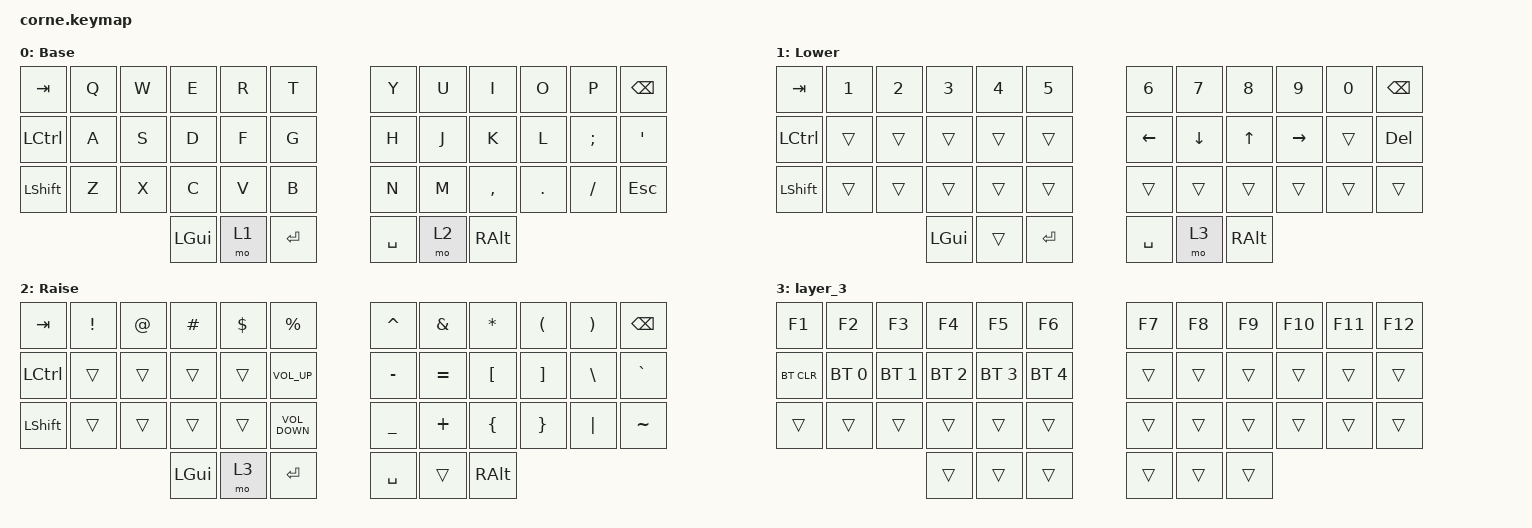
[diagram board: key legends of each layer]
/*
 * Copyright (c) 2020 The ZMK Contributors
 *
 * SPDX-License-Identifier: MIT
 */

#include <behaviors.dtsi>
#include <dt-bindings/zmk/bt.h>
#include <dt-bindings/zmk/keys.h>

/ {
    keymap {
        compatible = "zmk,keymap";

        default_layer {
            // -----------------------------------------------------------------------------------------
            // |  TAB |  Q  |  W  |  E  |  R  |  T  |   |  Y  |  U   |  I  |  O  |  P  | BKSP |
            // | CTRL |  A  |  S  |  D  |  F  |  G  |   |  H  |  J   |  K  |  L  |  ;  |  '   |
            // | SHFT |  Z  |  X  |  C  |  V  |  B  |   |  N  |  M   |  ,  |  .  |  /  | ESC  |
            //                    | GUI | LWR | SPC |   | ENT | RSE  | ALT |

            display-name = "Base";
            bindings = <
&kp TAB    &kp Q  &kp W  &kp E     &kp R  &kp T        &kp Y      &kp U  &kp I      &kp O    &kp P     &kp BSPC
&kp LCTRL  &kp A  &kp S  &kp D     &kp F  &kp G        &kp H      &kp J  &kp K      &kp L    &kp SEMI  &kp SQT
&kp LSHFT  &kp Z  &kp X  &kp C     &kp V  &kp B        &kp N      &kp M  &kp COMMA  &kp DOT  &kp FSLH  &kp ESC
                         &kp LGUI  &mo 1  &kp ENTER    &kp SPACE  &mo 2  &kp RALT
            >;
        };

        lower_layer {
            // -----------------------------------------------------------------------------------------
            // |  TAB |  1  |  2  |  3  |  4  |  5  |   |  6  |  7  |  8  |  9  |  0  | BKSP |
            // | BTCLR| BT1 | BT2 | BT3 | BT4 | BT5 |   | LFT | DWN |  UP | RGT |     |      |
            // | SHFT |     |     |     |     |     |   |     |     |     |     |     |      |
            //                    | GUI |     | SPC |   | ENT |     | ALT |

            display-name = "Lower";
            bindings = <
&kp TAB    &kp N1  &kp N2  &kp N3    &kp N4  &kp N5       &kp N6     &kp N7    &kp N8    &kp N9     &kp N0  &kp BSPC
&kp LCTRL  &trans  &trans  &trans    &trans  &trans       &kp LEFT   &kp DOWN  &kp UP    &kp RIGHT  &trans  &kp DELETE
&kp LSHFT  &trans  &trans  &trans    &trans  &trans       &trans     &trans    &trans    &trans     &trans  &trans
                           &kp LGUI  &trans  &kp ENTER    &kp SPACE  &mo 3     &kp RALT
            >;
        };

        raise_layer {
            // -----------------------------------------------------------------------------------------
            // |  TAB |  !  |  @  |  #  |  $  |  %  |   |  ^  |  &  |  *  |  (  |  )  | BKSP |
            // | CTRL |     |     |     |     |     |   |  -  |  =  |  [  |  ]  |  \  |  `   |
            // | SHFT |     |     |     |     |     |   |  _  |  +  |  {  |  }  | "|" |  ~   |
            //                    | GUI |     | SPC |   | ENT |     | ALT |

            display-name = "Raise";
            bindings = <
&kp TAB    &kp EXCL  &kp AT  &kp HASH  &kp DLLR  &kp PRCNT            &kp CARET  &kp AMPS   &kp ASTERISK  &kp LPAR  &kp RPAR  &kp BSPC
&kp LCTRL  &trans    &trans  &trans    &trans    &kp C_VOLUME_UP      &kp MINUS  &kp EQUAL  &kp LBKT      &kp RBKT  &kp BSLH  &kp GRAVE
&kp LSHFT  &trans    &trans  &trans    &trans    &kp C_VOLUME_DOWN    &kp UNDER  &kp PLUS   &kp LBRC      &kp RBRC  &kp PIPE  &kp TILDE
                             &kp LGUI  &mo 3     &kp ENTER            &kp SPACE  &trans     &kp RALT
            >;
        };

        layer_3 {
            bindings = <
&kp F1      &kp F2        &kp F3        &kp F4        &kp F5        &kp F6          &kp F7  &kp F8  &kp F9  &kp F10  &kp F11  &kp F12
&bt BT_CLR  &bt BT_SEL 0  &bt BT_SEL 1  &bt BT_SEL 2  &bt BT_SEL 3  &bt BT_SEL 4    &trans  &trans  &trans  &trans   &trans   &trans
&trans      &trans        &trans        &trans        &trans        &trans          &trans  &trans  &trans  &trans   &trans   &trans
                                        &trans        &trans        &trans          &trans  &trans  &trans
            >;
        };
    };
};
